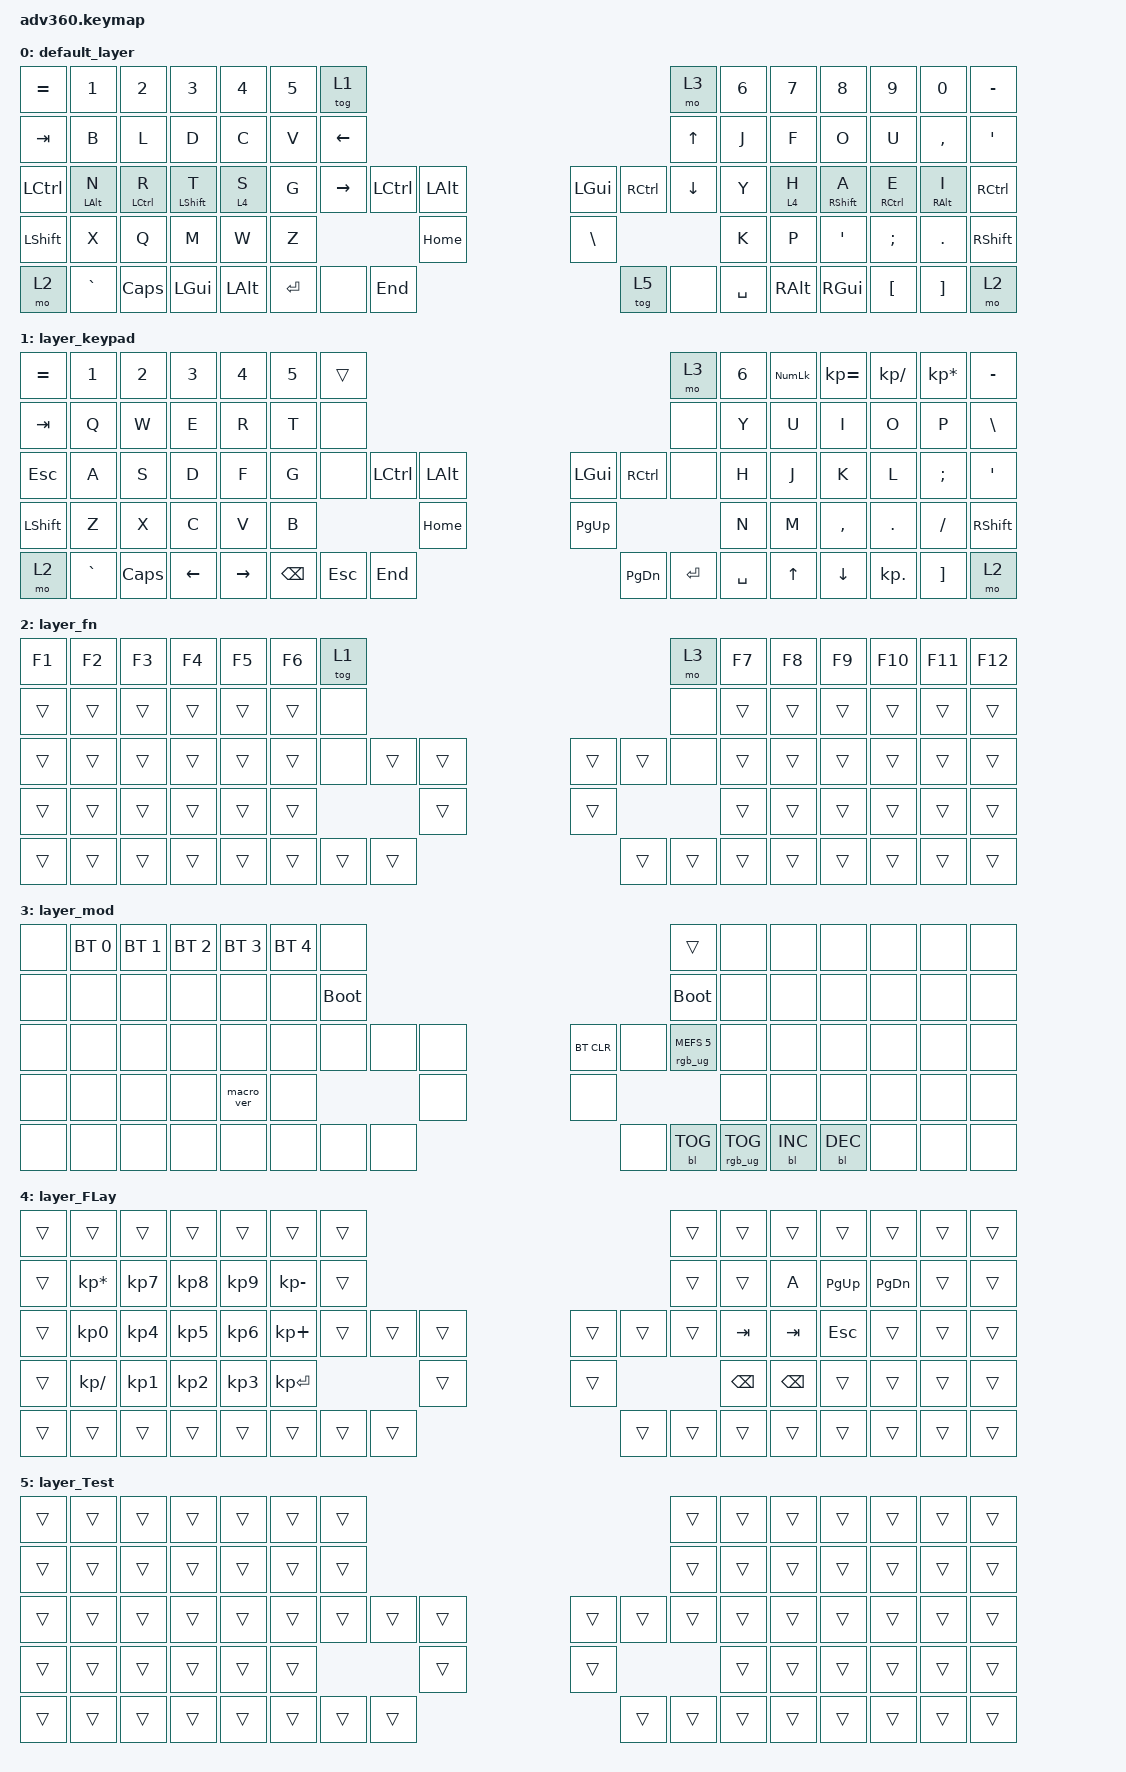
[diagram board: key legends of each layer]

/*
 * Copyright (c) 2020 The ZMK Contributors
 *
 * SPDX-License-Identifier: MIT
 */


/* THIS FILE WAS GENERATED!
 *
 * This file was generated automatically. You may or may not want to
 * edit it directly.
 */

#include <behaviors.dtsi>
#include <dt-bindings/zmk/keys.h>
#include <dt-bindings/zmk/bt.h>
#include <dt-bindings/zmk/rgb.h>
#include <dt-bindings/zmk/backlight.h>

/ {
  behaviors {
    #include "macros.dtsi"
    #include "version.dtsi"

    hm: homerow_mods {
        compatible = "zmk,behavior-hold-tap";
        label = "HOMEROW_MODS";
        #binding-cells = <2>;
        tapping-term-ms = <200>;
        quick_tap_ms = <175>;
        flavor = "tap-preferred";
        bindings = <&kp>, <&kp>;
    };
  };

    keymap {
        compatible = "zmk,keymap";


        default_layer {
            bindings = <
 &kp EQUAL          &kp N1       &kp N2            &kp N3        &kp N4  &kp N5                     &tog 1                                                                          &mo 3  &kp N6         &kp N7             &kp N8         &kp N9      &kp N0          &kp MINUS
   &kp TAB           &kp B        &kp L             &kp D         &kp C   &kp V             &kp LEFT_ARROW                                                                   &kp UP_ARROW   &kp J          &kp F              &kp O          &kp U   &kp COMMA     &kp APOSTROPHE
 &kp LCTRL  &mt LEFT_ALT N  &mt LCTRL R  &mt LEFT_SHIFT T       &lt 4 S   &kp G            &kp RIGHT_ARROW  &kp LCTRL  &kp LALT                       &kp LGUI  &kp RCTRL  &kp DOWN_ARROW   &kp Y        &lt 4 H  &mt RIGHT_SHIFT A    &mt RCTRL E  &mt RALT I  &kp RIGHT_CONTROL
 &kp LSHFT           &kp X        &kp Q             &kp M         &kp W   &kp Z                                        &kp HOME                  &kp BACKSLASH                              &kp K          &kp P     &kp APOSTROPHE  &kp SEMICOLON  &kp PERIOD          &kp RSHFT
     &mo 2       &kp GRAVE     &kp CAPS      &kp LEFT_GUI  &kp LEFT_ALT                         &kp RETURN      &none   &kp END                         &tog 5      &none       &kp SPACE          &kp RIGHT_ALT      &kp RIGHT_GUI       &kp LBKT    &kp RBKT              &mo 2
            >;
        };

        layer_keypad {
            bindings = <
 &kp EQUAL     &kp N1    &kp N2    &kp N3     &kp N4  &kp N5              &trans                                                                  &mo 3  &kp N6  &kp KP_NUM  &kp KP_EQUAL  &kp KP_DIVIDE  &kp KP_MULTIPLY  &kp MINUS
   &kp TAB      &kp Q     &kp W     &kp E      &kp R   &kp T               &none                                                                  &none   &kp Y       &kp U         &kp I          &kp O            &kp P   &kp BSLH
   &kp ESC      &kp A     &kp S     &kp D      &kp F   &kp G               &none   &kp LCTRL  &kp LALT                   &kp LGUI  &kp RCTRL      &none   &kp H       &kp J         &kp K          &kp L    &kp SEMICOLON    &kp SQT
 &kp LSHFT      &kp Z     &kp X     &kp C      &kp V   &kp B                                  &kp HOME                  &kp PG_UP                         &kp N       &kp M     &kp COMMA     &kp PERIOD        &kp SLASH  &kp RSHFT
     &mo 2  &kp GRAVE  &kp CAPS  &kp LEFT  &kp RIGHT                    &kp BSPC  &kp ESCAPE   &kp END                  &kp PG_DN  &kp ENTER  &kp SPACE              &kp UP      &kp DOWN     &kp KP_DOT         &kp RBKT      &mo 2
            >;
        };

        layer_fn {
            bindings = <
 &kp F1  &kp F2  &kp F3  &kp F4  &kp F5  &kp F6            &tog 1                                                   &mo 3  &kp F7  &kp F8  &kp F9  &kp F10  &kp F11  &kp F12
 &trans  &trans  &trans  &trans  &trans  &trans             &none                                                   &none  &trans  &trans  &trans   &trans   &trans   &trans
 &trans  &trans  &trans  &trans  &trans  &trans             &none  &trans  &trans                  &trans  &trans   &none  &trans  &trans  &trans   &trans   &trans   &trans
 &trans  &trans  &trans  &trans  &trans  &trans                            &trans                  &trans                  &trans  &trans  &trans   &trans   &trans   &trans
 &trans  &trans  &trans  &trans  &trans                    &trans  &trans  &trans                  &trans  &trans  &trans          &trans  &trans   &trans   &trans   &trans
            >;
        };

        layer_mod {
            bindings = <
  &none  &bt BT_SEL 0  &bt BT_SEL 1  &bt BT_SEL 2  &bt BT_SEL 3  &bt BT_SEL 4                  &none                                                                          &trans   &none       &none       &none   &none   &none   &none
  &none         &none         &none         &none         &none         &none            &bootloader                                                                     &bootloader   &none       &none       &none   &none   &none   &none
  &none         &none         &none         &none         &none         &none                  &none   &none   &none                  &bt BT_CLR       &none  &rgb_ug RGB_MEFS_CMD 5   &none       &none       &none   &none   &none   &none
  &none         &none         &none         &none    &macro_ver         &none                                  &none                       &none                                       &none       &none       &none   &none   &none   &none
  &none         &none         &none         &none         &none                                &none   &none   &none                       &none  &bl BL_TOG         &rgb_ug RGB_TOG          &bl BL_INC  &bl BL_DEC   &none   &none   &none
            >;
        };

        layer_FLay {
            bindings = <
 &trans           &trans     &trans     &trans     &trans        &trans            &trans                                                  &trans    &trans         &trans       &trans         &trans  &trans  &trans
 &trans  &kp KP_MULTIPLY  &kp KP_N7  &kp KP_N8  &kp KP_N9  &kp KP_MINUS            &trans                                                  &trans    &trans          &kp A  &kp PAGE_UP  &kp PAGE_DOWN  &trans  &trans
 &trans        &kp KP_N0  &kp KP_N4  &kp KP_N5  &kp KP_N6   &kp KP_PLUS            &trans  &trans  &trans                  &trans  &trans  &trans   &kp TAB        &kp TAB   &kp ESCAPE         &trans  &trans  &trans
 &trans     &kp KP_SLASH  &kp KP_N1  &kp KP_N2  &kp KP_N3  &kp KP_ENTER                            &trans                  &trans                  &kp BSPC  &kp BACKSPACE       &trans         &trans  &trans  &trans
 &trans           &trans     &trans     &trans     &trans                          &trans  &trans  &trans                  &trans  &trans  &trans                   &trans       &trans         &trans  &trans  &trans
            >;
        };

        layer_Test {
            bindings = <
 &trans  &trans  &trans  &trans  &trans  &trans            &trans                                                  &trans  &trans  &trans  &trans  &trans  &trans  &trans
 &trans  &trans  &trans  &trans  &trans  &trans            &trans                                                  &trans  &trans  &trans  &trans  &trans  &trans  &trans
 &trans  &trans  &trans  &trans  &trans  &trans            &trans  &trans  &trans                  &trans  &trans  &trans  &trans  &trans  &trans  &trans  &trans  &trans
 &trans  &trans  &trans  &trans  &trans  &trans                            &trans                  &trans                  &trans  &trans  &trans  &trans  &trans  &trans
 &trans  &trans  &trans  &trans  &trans                    &trans  &trans  &trans                  &trans  &trans  &trans          &trans  &trans  &trans  &trans  &trans
            >;
        };

    };
};
